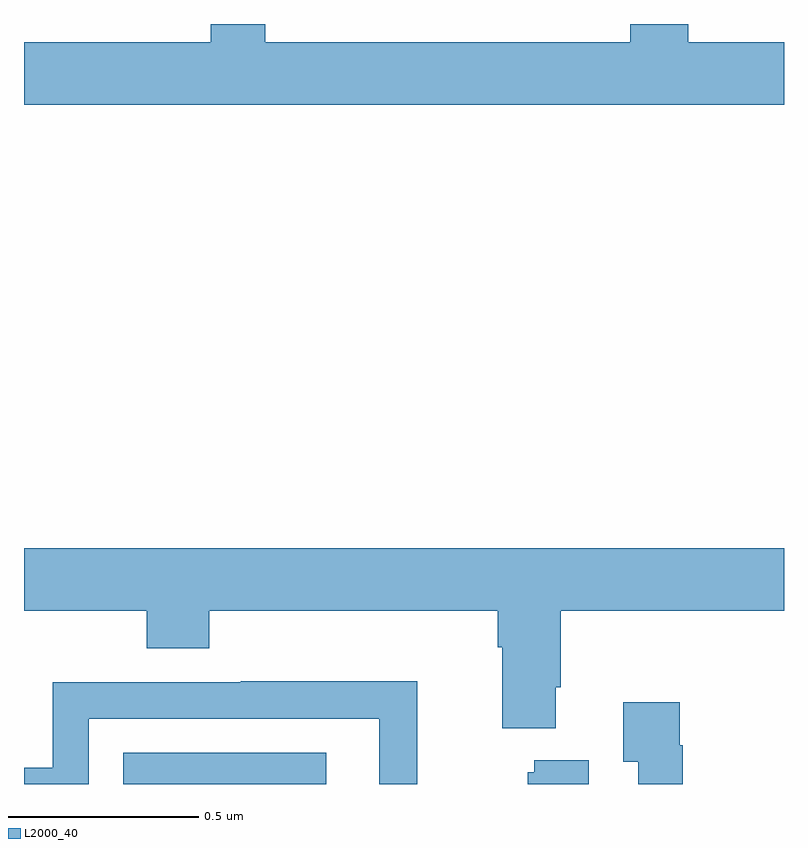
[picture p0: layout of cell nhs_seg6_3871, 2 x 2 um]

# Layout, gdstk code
import gdstk
lib = gdstk.Library(unit=1e-6, precision=1e-09)
def R(c, l, rs):  # rectangles x0, y0, x1, y1
    for r in rs: c.add(gdstk.rectangle(r[:2], r[2:], *l))
def P(c, l, *ps):  # polygons
    for p in ps: c.add(gdstk.Polygon(p, *l))
L2000_40 = (2000, 40)

nhs_seg6_3871 = lib.new_cell('nhs_seg6_3871')
R(nhs_seg6_3871, L2000_40, [(162.261,993.5,162.796,993.582)])
P(nhs_seg6_3871, L2000_40, [(164,995.452),(163.748,995.452),(163.748,995.5),(163.595,995.5),(163.595,995.452),(162.635,995.452),(162.635,995.5),(162.491,995.5),(162.491,995.452),(162,995.452),(162,995.288),(164,995.288)],
  [(162,993.956),(162.323,993.956),(162.323,993.857),(162.488,993.857),(162.488,993.956),(163.247,993.956),(163.247,993.86),(163.259,993.86),(163.259,993.647),(163.399,993.647),(163.399,993.754),(163.412,993.754),(163.412,993.956),(164,993.956),(164,994.12),(162,994.12)],
  [(162.171,993.672),(162.935,993.672),(162.935,993.5),(163.035,993.5),(163.035,993.77),(162.571,993.77),(162.571,993.768),(162.075,993.768),(162.075,993.543),(162,993.543),(162,993.5),(162.171,993.5)],
  [(163.733,993.602),(163.726,993.602),(163.726,993.715),(163.577,993.715),(163.577,993.559),(163.617,993.559),(163.617,993.5),(163.733,993.5)],
  [(163.486,993.562),(163.343,993.562),(163.343,993.531),(163.325,993.531),(163.325,993.5),(163.486,993.5)])

lib.write_gds('nhs_seg6_3871.gds')
